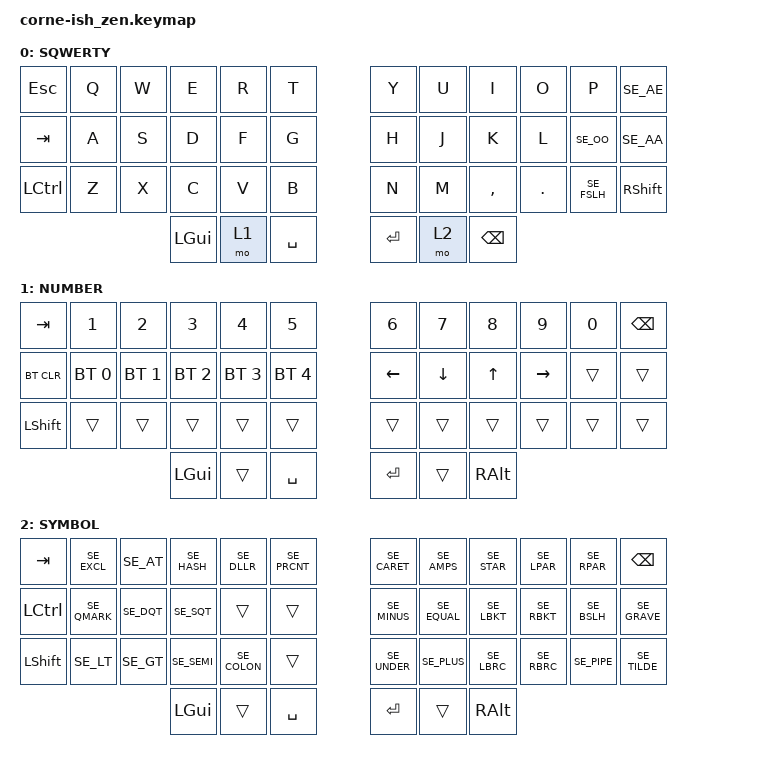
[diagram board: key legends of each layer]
/*
*
* Copyright (c) 2021 Darryl deHaan
* SPDX-License-Identifier: MIT
*
*/

#include <behaviors.dtsi>
#include <dt-bindings/zmk/keys.h>
#include <dt-bindings/zmk/bt.h>
#include "swe_keys.h"

/ {
  chosen {
    zmk,matrix_transform = &default_transform;
    //zmk,matrix_transform = &five_column_transform;
  };
};

/ {
        keymap {
                compatible = "zmk,keymap";

//                eng_layer {
//                       label = "EQWERTY";
// -----------------------------------------------------------------------------------------
// |  TAB |  Q  |  W  |  E  |  R  |  T  |   |  Y  |  U   |  I  |  O  |  P  | BKSP |
// | CTRL |  A  |  S  |  D  |  F  |  G  |   |  H  |  J   |  K  |  L  |  ;  |  '   |
// | SHFT |  Z  |  X  |  C  |  V  |  B  |   |  N  |  M   |  ,  |  .  |  /  | ESC  |
//                    | GUI | LWR | SPC |   | ENT | RSE  | ALT |
//                        bindings = <
//   &kp TAB   &kp Q &kp W &kp E &kp R &kp T   &kp Y &kp U  &kp I     &kp O   &kp P    &kp BSPC
//   &kp LCTRL &kp A &kp S &kp D &kp F &kp G   &kp H &kp J  &kp K     &kp L   &kp SEMI &kp SQT
//   &kp LSHFT &kp Z &kp X &kp C &kp V &kp B   &kp N &kp M  &kp COMMA &kp DOT &kp SLSHFSLH &kp ESC
//                  &kp LGUI &mo 1 &kp SPACE   &kp RET &mo 2 &kp RALT
//                        >;
//                };

                default_layer {
                        label = "SQWERTY";
// -----------------------------------------------------------------------------------------
// |  ESC |  Q  |  W  |  E  |  R  |  T  |   |  Y  |  U   |  I  |  O  |  P  |  Å   |
// | TAB |  A  |  S  |  D  |  F  |  G  |   |  H  |  J   |  K  |  L  |  Ö  |  Ä   |
// | CTRL |  Z  |  X  |  C  |  V  |  B  |   |  N  |  M   |  ,  |  .  |  /  | SHFT  |
//                    | GUI | LWR | SPC |   | ENT | RSE  | BKSP |
                        bindings = <
   &kp ESC   &kp Q &kp W &kp E &kp R &kp T   &kp Y &kp U  &kp I     &kp O   &kp P    &kp SE_AE
   &kp TAB   &kp A &kp S &kp D &kp F &kp G   &kp H &kp J  &kp K     &kp L   &kp SE_OO &kp SE_AA
   &kp LCTRL &kp Z &kp X &kp C &kp V &kp B   &kp N &kp M  &kp COMMA &kp DOT &kp SE_FSLH &kp RSHFT
                  &kp LGUI &mo 1 &kp SPACE   &kp RET &mo 2 &kp BSPC
                        >;
                };

                lower_layer {
                        label = "NUMBER";
// -----------------------------------------------------------------------------------------
// |  TAB |  1  |  2  |  3  |  4  |  5  |   |  6  |  7  |  8  |  9  |  0  | BKSP |
// | BTCLR| BT1 | BT2 | BT3 | BT4 | BT5 |   | LFT | DWN |  UP | RGT |     |      |
// | SHFT |     |     |     |     |     |   |     |     |     |     |     |      |
//                    | GUI |     | SPC |   | ENT |     | ALT |
                        bindings = <
   &kp TAB    &kp N1       &kp N2       &kp N3       &kp N4       &kp N5         &kp N6   &kp N7   &kp N8 &kp N9    &kp N0 &kp BSPC
   &bt BT_CLR &bt BT_SEL 0 &bt BT_SEL 1 &bt BT_SEL 2 &bt BT_SEL 3 &bt BT_SEL 4   &kp LEFT &kp DOWN &kp UP &kp RIGHT &trans &trans
   &kp LSHFT  &trans       &trans       &trans       &trans       &trans         &trans   &trans   &trans &trans    &trans &trans
                          	        &kp LGUI     &trans       &kp SPACE      &kp RET  &trans   &kp RALT
                        >;
                };

                raise_layer {
                        label = "SYMBOL";
// -----------------------------------------------------------------------------------------
// |  TAB |  !  |  @  |  #  |  $  |  %  |   |  ^  |  &  |  *  |  (  |  )  | BKSP |
// | CTRL |  ?  |  "  |  '  |     |     |   |  -  |  =  |  [  |  ]  |  \  |  `   |
// | SHFT |  <  |  >  |  ;  |  :  |     |   |  _  |  +  |  {  |  }  | "|" |  ~   |
//                    | GUI |     | SPC |   | ENT |     | ALT |
                        bindings = <
   &kp TAB  &kp SE_EXCL   &kp SE_AT   &kp SE_HASH   &kp SE_DLLR &kp SE_PRCNT     &kp SE_CARET &kp SE_AMPS  &kp SE_STAR &kp SE_LPAR &kp SE_RPAR &kp BSPC
   &kp LCTRL &kp SE_QMARK  &kp SE_DQT  &kp SE_SQT    &trans      &trans          &kp SE_MINUS &kp SE_EQUAL &kp SE_LBKT &kp SE_RBKT &kp SE_BSLH &kp SE_GRAVE
   &kp LSHFT &kp SE_LT     &kp SE_GT   &kp SE_SEMI      &kp SE_COLON      &trans          &kp SE_UNDER &kp SE_PLUS  &kp SE_LBRC &kp SE_RBRC &kp SE_PIPE &kp SE_TILDE
                    	     &kp LGUI &trans   &kp SPACE                           &kp RET   &trans    &kp RALT
                        >;
                };
        };
};
